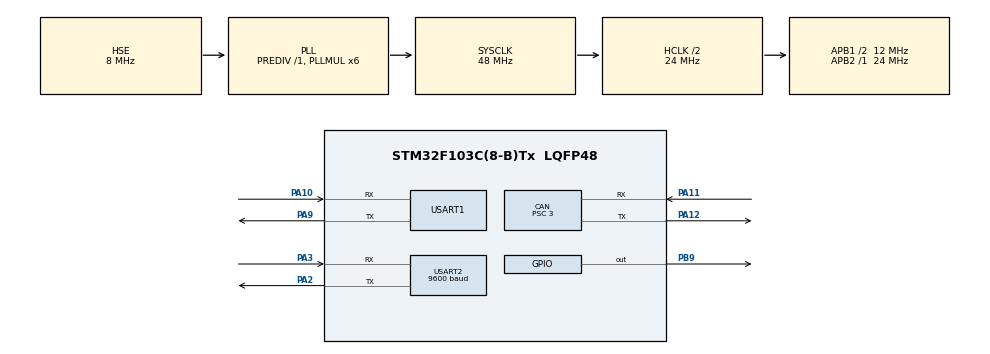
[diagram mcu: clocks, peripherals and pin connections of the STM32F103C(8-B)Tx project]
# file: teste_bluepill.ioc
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CAN.ABOM=DISABLE
CAN.BS1=CAN_BS1_5TQ
CAN.BS2=CAN_BS2_2TQ
CAN.CalculateTimeBit=2000
CAN.CalculateTimeQuantum=250.0
CAN.Mode=CAN_MODE_NORMAL
CAN.NART=DISABLE
CAN.Prescaler=3
Mcu.Family=STM32F1
Mcu.Name=STM32F103C(8-B)Tx
Mcu.Package=LQFP48
NVIC.CAN1_RX1_IRQn=true\:0\:0\:false\:true\:true\:1\:true\:true
NVIC.PriorityGroup=NVIC_PRIORITYGROUP_4
NVIC.USART1_IRQn=true\:0\:0\:false\:true\:true\:2\:true\:true
PA10.Mode=Asynchronous
PA10.Signal=USART1_RX
PA11.Mode=Master
PA11.Signal=CAN_RX
PA12.Mode=Master
PA12.Signal=CAN_TX
PA13.Mode=Serial_Wire
PA13.Signal=SYS_JTMS-SWDIO
PA14.Mode=Serial_Wire
PA14.Signal=SYS_JTCK-SWCLK
PA2.Mode=Asynchronous
PA2.Signal=USART2_TX
PA3.Mode=Asynchronous
PA3.Signal=USART2_RX
PA9.Mode=Asynchronous
PA9.Signal=USART1_TX
PB9.Signal=GPIO_Output
PD0-OSC_IN.Mode=HSE-External-Oscillator
PD0-OSC_IN.Signal=RCC_OSC_IN
PD1-OSC_OUT.Mode=HSE-External-Oscillator
PD1-OSC_OUT.Signal=RCC_OSC_OUT
ProjectManager.HeapSize=0x200
ProjectManager.StackSize=0x400
ProjectManager.TargetToolchain=STM32CubeIDE
RCC.AHBCLKDivider=RCC_SYSCLK_DIV2
RCC.AHBFreq_Value=24000000
RCC.APB1CLKDivider=RCC_HCLK_DIV2
RCC.APB1Freq_Value=12000000
RCC.APB1TimFreq_Value=24000000
RCC.APB2Freq_Value=24000000
RCC.APB2TimFreq_Value=24000000
RCC.HCLKFreq_Value=24000000
RCC.PLLMUL=RCC_PLL_MUL6
RCC.PLLSourceVirtual=RCC_PLLSOURCE_HSE
RCC.SYSCLKFreq_VALUE=48000000
RCC.SYSCLKSource=RCC_SYSCLKSOURCE_PLLCLK
RCC.USBFreq_Value=48000000
USART1.VirtualMode=VM_ASYNC
USART2.BaudRate=9600
USART2.VirtualMode=VM_ASYNC
board=custom

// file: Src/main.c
/* USER CODE BEGIN Header */
/**
  ******************************************************************************
  * @file           : main.c
  * @brief          : Main program body
  ******************************************************************************
  * @attention
  *
  * <h2><center>&copy; Copyright (c) 2019 STMicroelectronics.
  * All rights reserved.</center></h2>
  *
  * This software component is licensed by ST under BSD 3-Clause license,
  * the "License"; You may not use this file except in compliance with the
  * License. You may obtain a copy of the License at:
  *                        opensource.org/licenses/BSD-3-Clause
  *
  ******************************************************************************
  */
/* USER CODE END Header */

#include "main.h"

CAN_HandleTypeDef hcan;

UART_HandleTypeDef huart1;
UART_HandleTypeDef huart2;

void SystemClock_Config(void);
static void MX_GPIO_Init(void);
static void MX_CAN_Init(void);
static void MX_USART1_UART_Init(void);
static void MX_USART2_UART_Init(void);
static void MX_NVIC_Init(void);

int main(void)
{

  /* MCU Configuration--------------------------------------------------------*/

  /* Reset of all peripherals, Initializes the Flash interface and the Systick. */
  HAL_Init();

  /* Configure the system clock */
  SystemClock_Config();

  /* Initialize all configured peripherals */
  MX_GPIO_Init();
  MX_CAN_Init();
  MX_USART1_UART_Init();
  MX_USART2_UART_Init();

  /* Initialize interrupts */
  MX_NVIC_Init();
  /* USER CODE BEGIN 2 */
  if (HAL_CAN_Start(&hcan) != HAL_OK){
    /* Start Error */
    Error_Handler();
  }

  CAN_TxHeaderTypeDef TxHeader;
//  uint32_t TxData[8];
  uint32_t TxMailbox;

  HAL_StatusTypeDef status;

  TxHeader.IDE = CAN_ID_STD;
  TxHeader.RTR = CAN_RTR_DATA;
  TxHeader.DLC = 8;
  /* USER CODE END 2 */

  /* Infinite loop */
  /* USER CODE BEGIN WHILE */
  int i = 0;

  uint8_t TxDataGPS[5] = {0x0e, 0x0a, 0x13, 0x17, 0x32};
  uint8_t TxDataNormal[8] = {0x00, 0x01, 0x02, 0x03, 0x04, 0x05, 0x06, 0x07};

  while (1)
  {
    /* USER CODE END WHILE */

    /* USER CODE BEGIN 3 */
	if (i > 5) {
		i = 0;
	}

	if (i == 0) {
		TxHeader.StdId = 0x500;
		status = HAL_CAN_AddTxMessage(&hcan, &TxHeader, TxDataGPS, &TxMailbox);
	}

	else {
		TxHeader.StdId = 0x100;
		status = HAL_CAN_AddTxMessage(&hcan, &TxHeader, TxDataNormal, &TxMailbox);
	}

	i++;

//	if(status == HAL_ERROR){
//		HAL_GPIO_TogglePin(GPIOB, GPIO_PIN_9);
//	}

	  HAL_Delay(10);
  }
  /* USER CODE END 3 */
}

void SystemClock_Config(void)
{
  RCC_OscInitTypeDef RCC_OscInitStruct = {0};
  RCC_ClkInitTypeDef RCC_ClkInitStruct = {0};

  /** Initializes the CPU, AHB and APB busses clocks
  */
  RCC_OscInitStruct.OscillatorType = RCC_OSCILLATORTYPE_HSE;
  RCC_OscInitStruct.HSEState = RCC_HSE_ON;
  RCC_OscInitStruct.HSEPredivValue = RCC_HSE_PREDIV_DIV1;
  RCC_OscInitStruct.HSIState = RCC_HSI_ON;
  RCC_OscInitStruct.PLL.PLLState = RCC_PLL_ON;
  RCC_OscInitStruct.PLL.PLLSource = RCC_PLLSOURCE_HSE;
  RCC_OscInitStruct.PLL.PLLMUL = RCC_PLL_MUL6;
  if (HAL_RCC_OscConfig(&RCC_OscInitStruct) != HAL_OK)
  {
    Error_Handler();
  }
  /** Initializes the CPU, AHB and APB busses clocks
  */
  RCC_ClkInitStruct.ClockType = RCC_CLOCKTYPE_HCLK|RCC_CLOCKTYPE_SYSCLK
                              |RCC_CLOCKTYPE_PCLK1|RCC_CLOCKTYPE_PCLK2;
  RCC_ClkInitStruct.SYSCLKSource = RCC_SYSCLKSOURCE_PLLCLK;
  RCC_ClkInitStruct.AHBCLKDivider = RCC_SYSCLK_DIV2;
  RCC_ClkInitStruct.APB1CLKDivider = RCC_HCLK_DIV2;
  RCC_ClkInitStruct.APB2CLKDivider = RCC_HCLK_DIV1;

  if (HAL_RCC_ClockConfig(&RCC_ClkInitStruct, FLASH_LATENCY_1) != HAL_OK)
  {
    Error_Handler();
  }
}

/**
  * @brief NVIC Configuration.
  * @retval None
  */
static void MX_NVIC_Init(void)
{
  /* CAN1_RX1_IRQn interrupt configuration */
  HAL_NVIC_SetPriority(CAN1_RX1_IRQn, 0, 0);
  HAL_NVIC_EnableIRQ(CAN1_RX1_IRQn);
  /* USART1_IRQn interrupt configuration */
  HAL_NVIC_SetPriority(USART1_IRQn, 0, 0);
  HAL_NVIC_EnableIRQ(USART1_IRQn);
}

static void MX_CAN_Init(void)
{

  hcan.Instance = CAN1;
  hcan.Init.Prescaler = 3;
  hcan.Init.Mode = CAN_MODE_NORMAL;
  hcan.Init.SyncJumpWidth = CAN_SJW_1TQ;
  hcan.Init.TimeSeg1 = CAN_BS1_5TQ;
  hcan.Init.TimeSeg2 = CAN_BS2_2TQ;
  hcan.Init.TimeTriggeredMode = DISABLE;
  hcan.Init.AutoBusOff = DISABLE;
  hcan.Init.AutoWakeUp = DISABLE;
  hcan.Init.AutoRetransmission = DISABLE;
  hcan.Init.ReceiveFifoLocked = DISABLE;
  hcan.Init.TransmitFifoPriority = DISABLE;
  if (HAL_CAN_Init(&hcan) != HAL_OK)
  {
    Error_Handler();
  }

}

static void MX_USART1_UART_Init(void)
{

  huart1.Instance = USART1;
  huart1.Init.BaudRate = 115200;
  huart1.Init.WordLength = UART_WORDLENGTH_8B;
  huart1.Init.StopBits = UART_STOPBITS_1;
  huart1.Init.Parity = UART_PARITY_NONE;
  huart1.Init.Mode = UART_MODE_TX_RX;
  huart1.Init.HwFlowCtl = UART_HWCONTROL_NONE;
  huart1.Init.OverSampling = UART_OVERSAMPLING_16;
  if (HAL_UART_Init(&huart1) != HAL_OK)
  {
    Error_Handler();
  }

}

static void MX_USART2_UART_Init(void)
{

  huart2.Instance = USART2;
  huart2.Init.BaudRate = 9600;
  huart2.Init.WordLength = UART_WORDLENGTH_8B;
  huart2.Init.StopBits = UART_STOPBITS_1;
  huart2.Init.Parity = UART_PARITY_NONE;
  huart2.Init.Mode = UART_MODE_TX_RX;
  huart2.Init.HwFlowCtl = UART_HWCONTROL_NONE;
  huart2.Init.OverSampling = UART_OVERSAMPLING_16;
  if (HAL_UART_Init(&huart2) != HAL_OK)
  {
    Error_Handler();
  }

}

static void MX_GPIO_Init(void)
{
  GPIO_InitTypeDef GPIO_InitStruct = {0};

  /* GPIO Ports Clock Enable */
  __HAL_RCC_GPIOD_CLK_ENABLE();
  __HAL_RCC_GPIOA_CLK_ENABLE();
  __HAL_RCC_GPIOB_CLK_ENABLE();

  /*Configure GPIO pin Output Level */
  HAL_GPIO_WritePin(GPIOB, GPIO_PIN_9, GPIO_PIN_RESET);

  /*Configure GPIO pin : PB9 */
  GPIO_InitStruct.Pin = GPIO_PIN_9;
  GPIO_InitStruct.Mode = GPIO_MODE_OUTPUT_PP;
  GPIO_InitStruct.Pull = GPIO_NOPULL;
  GPIO_InitStruct.Speed = GPIO_SPEED_FREQ_LOW;
  HAL_GPIO_Init(GPIOB, &GPIO_InitStruct);

}

void Error_Handler(void)
{
}

/************************ (C) COPYRIGHT STMicroelectronics *****END OF FILE****/
